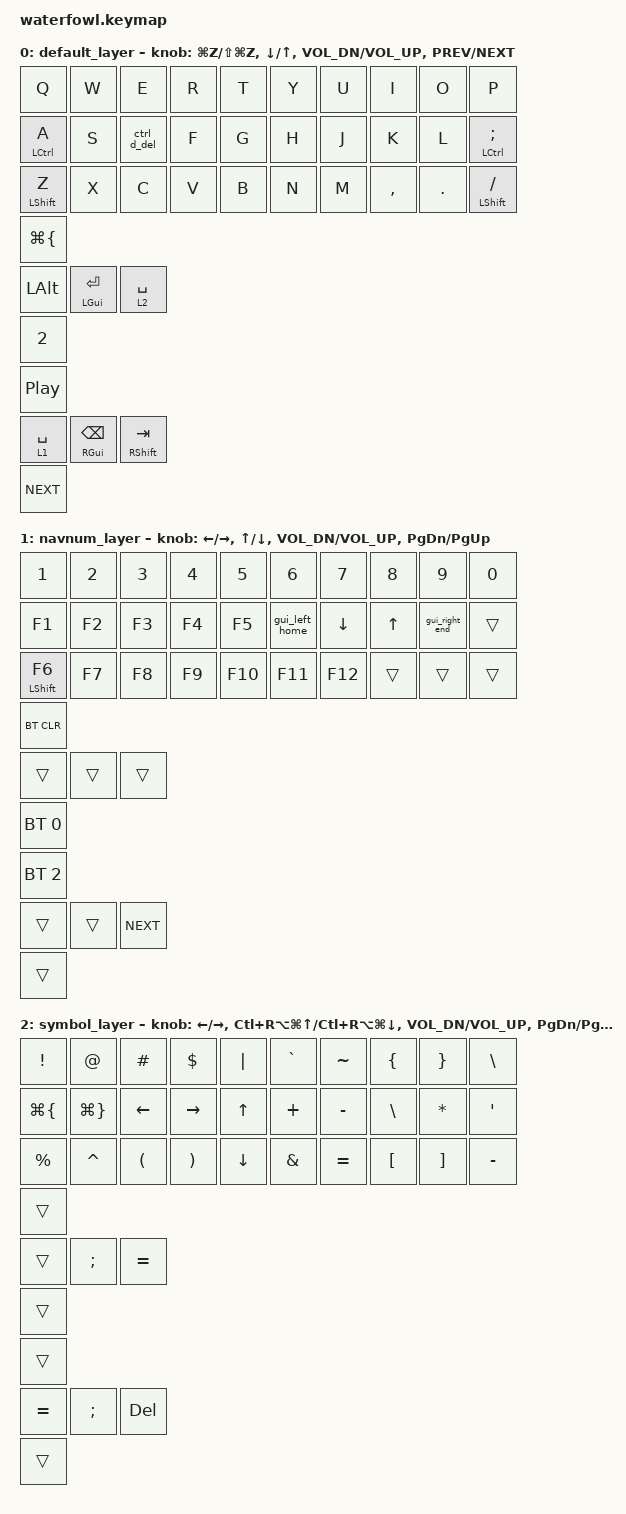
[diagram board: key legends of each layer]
/*
 * Copyright (c) 2022 The ZMK Contributors
 *
 * SPDX-License-Identifier: MIT
 */

#include <behaviors.dtsi>
#include <dt-bindings/zmk/keys.h>
#include <dt-bindings/zmk/bt.h>

/* Combomap
 *
 * ,-----------------------------.                          ,--------------------------------.
 * |   0  |  1  |  2  |   3 |  4  |                         |  5  |  6  |  7  |  8   |  9    |
 * |----- +-----+-----+-----+-----|                         |--------------------------------|
 * |  10  |  11 | 12  | 13  | 14  |                         | 15  | 16  | 17  | 18   |  19   | 
 * |------+-----+-----+-----+-----+    ,-----.   ,------.   |--------------------------------|
 * |  20  |  21 | 22  | 23  | 24  |    |     |   |      |   |  25 | 26  | 27  | 28   |  29   |
 * `------+-----+-----+------+----'    '-----'   '------'   `--------------------------------'
 *         ,-----. .------------------.           .-----------------.    ,-----.
 *         |     | | 30  | 31  | 32   |           | 33  |  34  | 35 |    |     |
 *         `-----' '------------------'           '-----------------'    `-----'
 *
 *
 * ,-----------------------------.                          ,--------------------------------.
 * |      |    ESC    |     |     |                         |     |    ESC    |    BSLH      |
 * |----- +-----+-----+-----+-----|                         |--------------------------------|
 * |      |   BSPC   TAB  M |  M  |                         |    LT    COLN   GT    |        | 
 * |------+-----+-----+---B-+--B--+    ,-----.   ,------.   |--------------------------------|
 * |      |   MINS    |   2 |  1  |    |     |   |      |   |    QUO   UNDR   |     |        |
 * `------+-----+-----+------+----'    '-----'   '------'   `--------------------------------'
 *        ,-----. .------------------.        .---------------.    ,-----.  
 *        |     | |     |     |      |        |    |     |    |    |     |
 *        `-----' '------------------'        '---------------'    `-----' 
 */

&mt {
  flavor = "tap-preferred";
  // tapping-term-ms = <300>; 
};

/ {
    behaviors {
        gui_left_home: gui_left_home {
            compatible = "zmk,behavior-mod-morph";
            #binding-cells = <0>;
            bindings = <&kp LEFT>, <&kp HOME>;
            mods = <(MOD_LGUI|MOD_RGUI)>;
        };
        gui_right_end: gui_right_end {
            compatible = "zmk,behavior-mod-morph";
            #binding-cells = <0>;
            bindings = <&kp RIGHT>, <&kp END>;
            mods = <(MOD_LGUI|MOD_RGUI)>;
        };
        ctrl_d_del: ctrl_d_del {
            compatible = "zmk,behavior-mod-morph";
            #binding-cells = <0>;
            bindings = <&kp D>, <&kp DEL>;
            mods = <(MOD_LCTL|MOD_RCTL)>;
        };
    };
    combos {
        compatible = "zmk,combos";
        /*
        combo_MINUS {
            timeout-ms = <50>;
            key-positions = <21 22>;
            bindings = <&kp MINUS>;
        };
        */
        combo_QUOTE {
            timeout-ms = <50>;
            key-positions = <25 26>;
            bindings = <&kp SQT>;
        };
        combo_UNDER {
            timeout-ms = <50>;
            key-positions = <26 27>;
            bindings = <&kp UNDER>;
        };
        
        
        
        combo_esc {
            timeout-ms = <50>;
            key-positions = <1 2>;
            bindings = <&kp ESC>;
        };
        combo_esc2 {
            timeout-ms = <50>;
            key-positions = <6 7>;
            bindings = <&kp ESC>;
        };
        combo_BSLH {
            timeout-ms = <50>;
            key-positions = <8 9>;
            bindings = <&kp BSLH>;
        };
        combo_BSPC {
            timeout-ms = <50>;
            key-positions = <11 12>;
            bindings = <&kp BSPC>;
        };
        
        
        combo_TAB {
            timeout-ms = <50>;
            key-positions = <12 13>;
            bindings = <&kp TAB>;
        };
        combo_LT {
            timeout-ms = <50>;
            key-positions = <15 16>;
            bindings = <&kp LT>;
        };
        combo_COLN {
            timeout-ms = <50>;
            key-positions = <16 17>;
            bindings = <&kp COLON>;
        };
        combo_GT {
            timeout-ms = <50>;
            key-positions = <17 18>;
            bindings = <&kp GT>;
        };
        combo_ALT {
            timeout-ms = <50>;
            key-positions = <21 22>;
            bindings = <&kp LALT>;
        };
        combo_UNDO {
            timeout-ms = <50>;
            key-positions = <20 21>;
            bindings = <&kp LG(Z)>;
        };
        combo_DEL {
            timeout-ms = <50>;
            key-positions = <10 12>;
            bindings = <&kp DEL>;
        };
    };
};

/ {
    keymap {
        compatible = "zmk,keymap";

        default_layer {
/* Keymap 0: Basic layer
 *
 * ,-----------------------------.                            ,--------------------------------.
 * |    q |  w  |  e  |  r  |  t  |                           |  y  |  u  |  i  |  o  |    p   |
 * |-----+-----+-----+-----+------|                           |--------------------------------|
 * |CTRL/a|  s  |  d  |  f  |  g  |                           |  h  |  j  |  k  |  l  | CTRL/; | 
 * |-----+-----+-----+-----+------+    ,-----.    ,-----.     |--------------------------------|
 * |SHFT/z|  x  |  c  |  v  |  b  |    |  2  |  |Pause/Play|  |  n  |  m  |  ,  |  .  | SHFT// |
 * `------+-----+-----+------+----'    `-----'    `-----'     `--------------------------------'
 *         ,-----. .---------------------.           .-----------------.    ,-----.
 *         |BACK | | ALT|GUI/ENT|SPC(SYM)|           |SPC(NUM)|BSPC|TAB|    |Next |
 *         `-----' '---------------------'           '-----------------'    `-----'
 */
            bindings = <
    &kp Q        &kp W         &kp E       &kp R       &kp T           &kp Y   &kp U       &kp I       &kp O       &kp P
    &mt LCTRL A  &kp S         &ctrl_d_del &kp F       &kp G           &kp H   &kp J       &kp K       &kp L       &mt LCTRL SEMI
    &mt LSHIFT Z &kp X         &kp C       &kp V       &kp B           &kp N   &kp M       &kp COMMA   &kp DOT     &mt LSHIFT FSLH
    &kp LG(LBRC)
    &kp LALT      &mt LGUI RET       &lt 2 SPACE
    &kp N2
    &kp C_PP
    &lt 1 SPACE   &mt RGUI BSPC      &mt RSHIFT TAB   
    &kp C_NEXT 
            >;

            sensor-bindings = <
                &inc_dec_kp LG(Z)    LS(LG(Z))
                &inc_dec_kp DOWN     UP
                &inc_dec_kp C_VOL_DN C_VOL_UP
                &inc_dec_kp C_PREV   C_NEXT 
            >;
        };

        navnum_layer {
/* Keymap 2: Pad/Function layer
 * ,-----------------------------------.                         ,-------------------------------.
 * |  1         |  2  |  3  |  4  |  5  |                        |  6  |  7  |  8  |  9  |   0   |
 * |------------+-----+-----+-----+-----|                        |-------------------------------|
 * |  F1        | F2  | F3  | F4  |  F5 |                        | LFT | DWN | UP  | RGT |       | 
 * |------------+-----+-----+-----+-----+  ,-----.    ,-----.    |-------------------------------|
 * |  Shift/F6  | F7  | F8  | F9  | F10 |  |     |    |     |    | F11 | F12 | bt0 | bt1 |  bt2  |
 * `------------+-----+-----+-----+-----'  `-----'    `-----'    `-------------------------------'
 *          ,-----.   .-----------------.          .-----------------.   ,-----.
 *          |btClr|   |    |     |      |          |     |     | SKP |   |     |
 *          `-----'   '-----------------'          '-----------------'   `-----'
 */
            bindings = <
    &kp N1      &kp N2      &kp N3      &kp N4      &kp N5                  &kp N6      &kp N7    &kp N8       &kp N9            &kp N0
    &kp F1      &kp F2      &kp F3      &kp F4      &kp F5                  &gui_left_home    &kp DOWN  &kp UP       &gui_right_end    &trans
    &mt LSHIFT F6      &kp F7      &kp F8      &kp F9      &kp F10          &kp F11     &kp F12   &trans       &trans            &trans
    &bt BT_CLR
    &trans &trans &trans
    &bt BT_SEL 0
    &bt BT_SEL 2
    &trans &trans    &kp C_NEXT 
    &trans
            >;

            sensor-bindings = <
                &inc_dec_kp LEFT RIGHT
                &inc_dec_kp UP DOWN
                &inc_dec_kp C_VOL_DN C_VOL_UP
                &inc_dec_kp PAGE_DOWN PAGE_UP
            >;
        };

        symbol_layer {
        
/* Keymap 2: Symbols layer
 * ,-----------------------------.                         ,--------------------------------.
 * |  !   |  @  |  #  |  $  |  |  |                        |  `  |  ~  |   {  |  } |    \   |
 * |------------------------------|                        |--------------------------------|
 * | Back | Fwd | <-  |  -> | UP  |                        |  +  |  -  |  /  |  *  |    '   |
 * |------------------------------|   ,-----.    ,-----.   |--------------------------------|
 * |  %   |  ^  |  (  |  )  | DOWN|   |     |    |     |   |  &  |  =  |  [  |   ] |   -    |
 * `------+-----+-----+------+----'   `-----'    `-----'   `--------------------------------' 
 *         ,-----.     .-----------------.           .------------------.   ,-----.
 *         |     |     |     |  ;  |  =  |           |  =  |  ;  |  DEL |   |     |
 *         `-----'     '-----------------'           '------------------'   `-----'
 */
            bindings = <
    &kp EXCL      &kp AT         &kp HASH    &kp DLLR     &kp PIPE         &kp GRAVE       &kp TILDE       &kp LBRC      &kp RBRC     &kp BSLH
    &kp LG(LBRC)  &kp LG(RBRC)   &kp LEFT    &kp RIGHT    &kp UP           &kp PLUS        &kp MINUS       &kp BSLH      &kp ASTERISK &kp APOSTROPHE      
    &kp PRCNT     &kp CARET      &kp LPAR    &kp RPAR     &kp DOWN         &kp AMPS        &kp EQUAL       &kp LBKT      &kp RBKT     &kp MINUS
    &trans
    &trans        &kp SEMI         &kp EQUAL
    &trans
    &trans
    &kp EQUAL     &kp SEMI       &kp DEL  
    &trans
            >;

            sensor-bindings = <
                &inc_dec_kp LEFT RIGHT
                &inc_dec_kp LC(RA(LG(UP))) LC(RA(LG(DOWN)))
                &inc_dec_kp C_VOL_DN C_VOL_UP
                &inc_dec_kp PAGE_DOWN PAGE_UP
            >;
        };
    };
};
